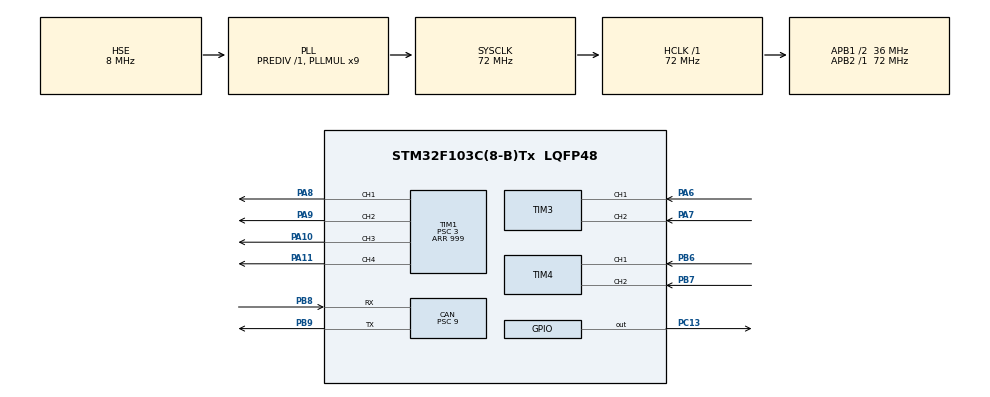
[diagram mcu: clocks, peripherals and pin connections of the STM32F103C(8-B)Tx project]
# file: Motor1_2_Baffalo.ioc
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CAN.BS1=CAN_BS1_2TQ
CAN.CalculateBaudRate=1000000
CAN.CalculateTimeBit=1000
CAN.CalculateTimeQuantum=250.0
CAN.Prescaler=9
Mcu.Family=STM32F1
Mcu.Name=STM32F103C(8-B)Tx
Mcu.Package=LQFP48
NVIC.CAN1_RX1_IRQn=true\:0\:0\:false\:false\:true\:true\:true\:true
NVIC.PriorityGroup=NVIC_PRIORITYGROUP_4
NVIC.TIM2_IRQn=true\:0\:0\:false\:false\:true\:true\:true\:true
PA10.Signal=S_TIM1_CH3
PA11.Signal=S_TIM1_CH4
PA13.Mode=Serial_Wire
PA13.Signal=SYS_JTMS-SWDIO
PA14.Mode=Serial_Wire
PA14.Signal=SYS_JTCK-SWCLK
PA6.Signal=S_TIM3_CH1
PA7.Signal=S_TIM3_CH2
PA8.Signal=S_TIM1_CH1
PA9.Signal=S_TIM1_CH2
PB6.Signal=S_TIM4_CH1
PB7.Signal=S_TIM4_CH2
PB8.Mode=CAN_Activate
PB8.Signal=CAN_RX
PB9.Mode=CAN_Activate
PB9.Signal=CAN_TX
PC13-TAMPER-RTC.Signal=GPIO_Output
PD0-OSC_IN.Mode=HSE-External-Oscillator
PD0-OSC_IN.Signal=RCC_OSC_IN
PD1-OSC_OUT.Mode=HSE-External-Oscillator
PD1-OSC_OUT.Signal=RCC_OSC_OUT
ProjectManager.HeapSize=0x200
ProjectManager.StackSize=0x400
ProjectManager.TargetToolchain=STM32CubeIDE
RCC.AHBFreq_Value=72000000
RCC.APB1CLKDivider=RCC_HCLK_DIV2
RCC.APB1Freq_Value=36000000
RCC.APB1TimFreq_Value=72000000
RCC.APB2Freq_Value=72000000
RCC.APB2TimFreq_Value=72000000
RCC.HCLKFreq_Value=72000000
RCC.PLLMUL=RCC_PLL_MUL9
RCC.PLLSourceVirtual=RCC_PLLSOURCE_HSE
RCC.SYSCLKFreq_VALUE=72000000
RCC.SYSCLKSource=RCC_SYSCLKSOURCE_PLLCLK
RCC.USBFreq_Value=72000000
SH.S_TIM1_CH1.0=TIM1_CH1,PWM Generation1 CH1
SH.S_TIM1_CH2.0=TIM1_CH2,PWM Generation2 CH2
SH.S_TIM1_CH3.0=TIM1_CH3,PWM Generation3 CH3
SH.S_TIM1_CH4.0=TIM1_CH4,PWM Generation4 CH4
SH.S_TIM3_CH1.0=TIM3_CH1,Encoder_Interface
SH.S_TIM3_CH2.0=TIM3_CH2,Encoder_Interface
SH.S_TIM4_CH1.0=TIM4_CH1,Encoder_Interface
SH.S_TIM4_CH2.0=TIM4_CH2,Encoder_Interface
TIM1.AutoReloadPreload=TIM_AUTORELOAD_PRELOAD_ENABLE
TIM1.Channel-PWM\ Generation1\ CH1=TIM_CHANNEL_1
TIM1.Channel-PWM\ Generation2\ CH2=TIM_CHANNEL_2
TIM1.Channel-PWM\ Generation3\ CH3=TIM_CHANNEL_3
TIM1.Channel-PWM\ Generation4\ CH4=TIM_CHANNEL_4
TIM1.Period=999
TIM1.Prescaler=3
TIM2.AutoReloadPreload=TIM_AUTORELOAD_PRELOAD_ENABLE
TIM2.Period=9999
TIM2.Prescaler=72
TIM3.AutoReloadPreload=TIM_AUTORELOAD_PRELOAD_ENABLE
TIM3.EncoderMode=TIM_ENCODERMODE_TI12
TIM4.AutoReloadPreload=TIM_AUTORELOAD_PRELOAD_ENABLE
TIM4.EncoderMode=TIM_ENCODERMODE_TI12
VP_TIM2_VS_ClockSourceINT.Mode=Internal
board=custom

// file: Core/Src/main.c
/* USER CODE BEGIN Header */
/**
  ******************************************************************************
  * @file           : main.c
  * @brief          : Main program body
  ******************************************************************************
  * @attention
  *
  * Copyright (c) 2024 STMicroelectronics.
  * All rights reserved.
  *
  * This software is licensed under terms that can be found in the LICENSE file
  * in the root directory of this software component.
  * If no LICENSE file comes with this software, it is provided AS-IS.
  *
  ******************************************************************************
  */
/* USER CODE END Header */
#include "main.h"
#include "can.h"
#include "tim.h"
#include "gpio.h"

/* USER CODE BEGIN Includes */
#include "PID.h"
#include "math.h"
/* USER CODE END Includes */

/* USER CODE BEGIN PTD */
PIDController MPID;
CAN_TxHeaderTypeDef TxHeader;
CAN_RxHeaderTypeDef RxHeader;

/* USER CODE END PTD */

/* USER CODE BEGIN PD */
#define R 0.05 //m
#define lx 0.45/2  //m
#define ly 0.45/2 //m
#define CPR 911
#define Sample_time 10 // ms
#define pi 3.14
//#define kp 7.92
//#define ki 136.48
#define kp 1.92
#define ki 169.6
#define kd 0
#define Motor1 0
#define Motor2 1
/* USER CODE END PD */

/* USER CODE BEGIN PV */
uint8_t RxData[8];
uint8_t TxData[4];
uint32_t TxMailbox;
uint16_t ReadValue;
int flag = 0;
uint8_t cntt;
float RxData1 = 0;
float RxData2 = 0;
float RxData3 = 0;
float RxData4 = 0;
float v1; // target speed of motor1
float v2; // target speed of motor2
float v3; // target speed of motor3
float v4; // target speed of motor4
uint16_t count[4]; // count pulse from encoder
uint16_t new_count[4];
uint8_t count_state[4];
uint16_t diff[4]; // difference between count and new_count in a sample time
uint16_t V1_out = 0;
uint16_t V2_out = 0;
uint16_t V3_out = 0;
uint16_t V4_out = 0;
float speedM[4];
float rdps[4];

float Motor1_speed ;
float Motor2_speed ;
float V1; // target speed of motor1
float V2; // target speed of motor2
float V3; // target speed of motor3
float V4; // target speed of motor4
float V1_test; // target speed of motor1
float V2_test;
float pwm_M1 = 0;
float pwm_M2 = 0;
float V;
float v;
float Vx;
float Vy;
float Omega;
uint16_t v1_out = 0;
uint16_t v2_out = 0;
uint16_t v3_out = 0;
uint16_t v4_out = 0;
uint16_t c;
uint8_t speed;
float theta = 0.0;
/* USER CODE END PV */

void SystemClock_Config(void);
/* USER CODE BEGIN PFP */
float Motors_RPS( int j,float SampleTime, float N_round)
{

	new_count[Motor1] = TIM3->CNT;
	new_count[Motor2] = TIM4->CNT;

	count_state[Motor1] = __HAL_TIM_IS_TIM_COUNTING_DOWN(&htim3);
	count_state[Motor2] = __HAL_TIM_IS_TIM_COUNTING_DOWN(&htim4);
	if (count_state[j])
	{
		if (new_count[j] <= count[j])
		{ // Check for counter underflow
			diff[j] = count[j] - new_count[j];
		}
		else
		{
			diff[j] = (65536 - new_count[j]) + count[j];
		}
		speedM[j] = (float)diff[j] * 1000.0f / (N_round * SampleTime)*-1;
	}
	else
	{
		if (new_count[j] >= count[j])
		{ // Check for counter overflow
			diff[j] = new_count[j] - count[j];
		}
		else
		{
			diff[j] = (65536 - count[j]) + new_count[j];
		}
		speedM[j] = (float)diff[j] * 1000.0f / (N_round * SampleTime);
	}

	rdps[j] = -2.0f * pi * speedM[j];
	count[j] = new_count[j];

	return rdps[j];
}
float map(float Input, float Min_Input, float Max_Input, float Min_Output,
		float Max_Output) {

	return (float) ((Input - Min_Input) * (Max_Output - Min_Output)
			/ (Max_Input - Min_Input) + Min_Output);
}
void HAL_CAN_RxFifo1MsgPendingCallback(CAN_HandleTypeDef *hcan) {
	HAL_CAN_GetRxMessage(hcan, CAN_RX_FIFO1, &RxHeader, RxData);
		cntt++;
		while (cntt - 100 > 0) {
			//HAL_GPIO_TogglePin(GPIOC, GPIO_PIN_13);
			cntt = 0;
		}

	if (RxHeader.StdId == 0x103) {
		RxData1 = (RxData[0] << 8) | RxData[1];
		RxData2 = (RxData[2] << 8) | RxData[3];
		RxData3 = (RxData[4] << 8) | RxData[5];
		RxData4 = (RxData[6] << 8) | RxData[7];

		V1 = map(RxData1, 0, 65535, -60.0, 60.0);
		V2 = map(RxData2, 0, 65535, -60.0, 60.0);
		V3 = map(RxData3, 0, 65535, -60.0, 60.0);
		V4 = map(RxData4, 0, 65535, -60.0, 60.0);
		flag = 1;

	}
}
/* USER CODE END PFP */

int main(void)
{
  /* USER CODE BEGIN 1 */
	PID_Init(&MPID, 2);
	MPID.T = 0.01; // T = 10ms
	MPID.limMax = 1000;
	MPID.limMin = -1000;
	MPID.limMaxInt = 1000;
	MPID.limMinInt = -1000;
	MPID.tau = 0; // for Kd
  /* USER CODE END 1 */

  /* MCU Configuration--------------------------------------------------------*/

  /* Reset of all peripherals, Initializes the Flash interface and the Systick. */
  HAL_Init();

  /* Configure the system clock */
  SystemClock_Config();

  /* Initialize all configured peripherals */
  MX_GPIO_Init();
  MX_CAN_Init();
  MX_TIM1_Init();
  MX_TIM2_Init();
  MX_TIM3_Init();
  MX_TIM4_Init();
  /* USER CODE BEGIN 2 */
  	HAL_TIM_Base_Start_IT(&htim2);

    // TIMER PWM Generation
	HAL_TIM_PWM_Start(&htim1, TIM_CHANNEL_1);
	HAL_TIM_PWM_Start(&htim1, TIM_CHANNEL_2);
	HAL_TIM_PWM_Start(&htim1, TIM_CHANNEL_3);
	HAL_TIM_PWM_Start(&htim1, TIM_CHANNEL_4);

	// TIMER Encoder Mode
	HAL_TIM_Encoder_Start(&htim3, TIM_CHANNEL_ALL);
	HAL_TIM_Encoder_Start(&htim4, TIM_CHANNEL_ALL);
	// CAN Transmit
	HAL_CAN_Start(&hcan);

	HAL_CAN_ActivateNotification(&hcan, CAN_IT_RX_FIFO1_MSG_PENDING);
	TxHeader.DLC = 8;
	TxHeader.IDE = CAN_ID_STD;
	TxHeader.RTR = CAN_RTR_DATA;
	TxHeader.StdId = 0x215; //Slave1
  /* USER CODE END 2 */

  /* Infinite loop */
  while (1)
  {

  }
}

void SystemClock_Config(void)
{
  RCC_OscInitTypeDef RCC_OscInitStruct = {0};
  RCC_ClkInitTypeDef RCC_ClkInitStruct = {0};

  /** Initializes the RCC Oscillators according to the specified parameters
  * in the RCC_OscInitTypeDef structure.
  */
  RCC_OscInitStruct.OscillatorType = RCC_OSCILLATORTYPE_HSE;
  RCC_OscInitStruct.HSEState = RCC_HSE_ON;
  RCC_OscInitStruct.HSEPredivValue = RCC_HSE_PREDIV_DIV1;
  RCC_OscInitStruct.HSIState = RCC_HSI_ON;
  RCC_OscInitStruct.PLL.PLLState = RCC_PLL_ON;
  RCC_OscInitStruct.PLL.PLLSource = RCC_PLLSOURCE_HSE;
  RCC_OscInitStruct.PLL.PLLMUL = RCC_PLL_MUL9;
  if (HAL_RCC_OscConfig(&RCC_OscInitStruct) != HAL_OK)
  {
    Error_Handler();
  }

  /** Initializes the CPU, AHB and APB buses clocks
  */
  RCC_ClkInitStruct.ClockType = RCC_CLOCKTYPE_HCLK|RCC_CLOCKTYPE_SYSCLK
                              |RCC_CLOCKTYPE_PCLK1|RCC_CLOCKTYPE_PCLK2;
  RCC_ClkInitStruct.SYSCLKSource = RCC_SYSCLKSOURCE_PLLCLK;
  RCC_ClkInitStruct.AHBCLKDivider = RCC_SYSCLK_DIV1;
  RCC_ClkInitStruct.APB1CLKDivider = RCC_HCLK_DIV2;
  RCC_ClkInitStruct.APB2CLKDivider = RCC_HCLK_DIV1;

  if (HAL_RCC_ClockConfig(&RCC_ClkInitStruct, FLASH_LATENCY_2) != HAL_OK)
  {
    Error_Handler();
  }
}

/* USER CODE BEGIN 4 */
void HAL_TIM_PeriodElapsedCallback(TIM_HandleTypeDef *htim) {
	if (htim->Instance == TIM2) {

		//Inverskinematic of Mecanum
//		v1 = ((1 / R) * (Vx - Vy - (Vz * (lx + ly)))) ;
//		v2 = ((1 / R) * (Vx + Vy + (Vz * (lx + ly)))) ;
//		v3 = ((1/ R) * (Vx + Vy - (Vz * (lx + ly)))) ;
//		v4 = ((1/ R) * (Vx - Vy + (Vz * (lx + ly)))) ;
		//Inverskinematic of Mecanum
//		V1 = ((1.0 / R) * (-Vx + Vy + (Omega * (lx + ly)))) ;
//		V2 = ((1.0 / R) * (-Vx - Vy + (Omega * (lx + ly)))) ;
//		V3 = ((1.0 / R) * ( Vx - Vy + (Omega * (lx + ly)))) ;
//		V4 = ((1.0 / R) * ( Vx + Vy + (Omega * (lx + ly)))) ;

//		TIM1->CCR1 = 0;
//		TIM1->CCR2 = pwm_M1;
//		TIM1->CCR3 = 0;
//		TIM1->CCR4 = pwm_M2;

		// Motor measurement speed
		Motor1_speed = Motors_RPS(Motor1, Sample_time, CPR); // sample time 10ms
		Motor2_speed = Motors_RPS(Motor2, Sample_time, CPR); // sample time 10ms
//
//		// PWM PID of Motor
		pwm_M1 = PID(&MPID, V1, Motor1_speed, kp, ki, kd, Motor1);
		pwm_M2 = PID(&MPID, V2, Motor2_speed, kp, ki, kd, Motor2);
////
		// Control Motor
		if (pwm_M2 > 20)
		{
			TIM1->CCR4 = pwm_M2;
			TIM1->CCR3 = 0;
		}
		else if (pwm_M2 < -20)
		{
			TIM1->CCR4 = 0;
			TIM1->CCR3 = -1 * pwm_M2;
		}
		else
		{
			TIM1->CCR3 = 0;
			TIM1->CCR4 = 0;
		}
		if (pwm_M1 > 20)
		{
			TIM1->CCR2 = pwm_M1;
			TIM1->CCR1 = 0;
		}
		else if (pwm_M1 < -20)
		{
			TIM1->CCR2 = 0;
			TIM1->CCR1 = -1 * pwm_M1;
		}
		else
		{
			TIM1->CCR1 = 0;
			TIM1->CCR2 = 0;
		}

		V1_out = map(Motor1_speed, -60, 60, 0, 65535);
		V2_out = map(Motor2_speed, -60, 60, 0, 65535);
//		v3_out = map(v3, 0, 600, 0, 65535);
//		v4_out = map(v4, 0, 600, 0, 65535);

		TxData[0] = ((V1_out & 0xFF00) >> 8);
		TxData[1] = (V1_out & 0x00FF);
		TxData[2] = ((V2_out & 0xFF00) >> 8);
		TxData[3] = (V2_out & 0x00FF);
		if (flag == 1)
		{
			HAL_CAN_AddTxMessage(&hcan, &TxHeader, TxData, &TxMailbox);
			flag = 0;
		}
	}
}
/* USER CODE END 4 */

void Error_Handler(void)
{
  __disable_irq();
  while (1)
  {
  }
}
